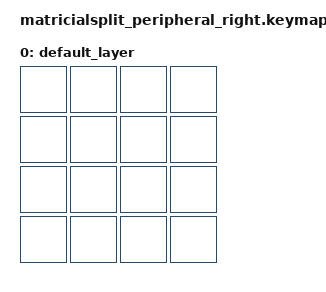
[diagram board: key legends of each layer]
/*
 * Copyright (c) 2020 The ZMK Contributors
 *
 * SPDX-License-Identifier: MIT
 */

#include <behaviors.dtsi>
#include <dt-bindings/zmk/keys.h>

/ {
    keymap {
        compatible = "zmk,keymap";

        default_layer {
            // Keymap vacío - el periférico solo reporta eventos al dongle
            bindings = <
                &none &none &none &none
                &none &none &none &none
                &none &none &none &none
                &none &none &none &none
            >;
        };
    };
};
